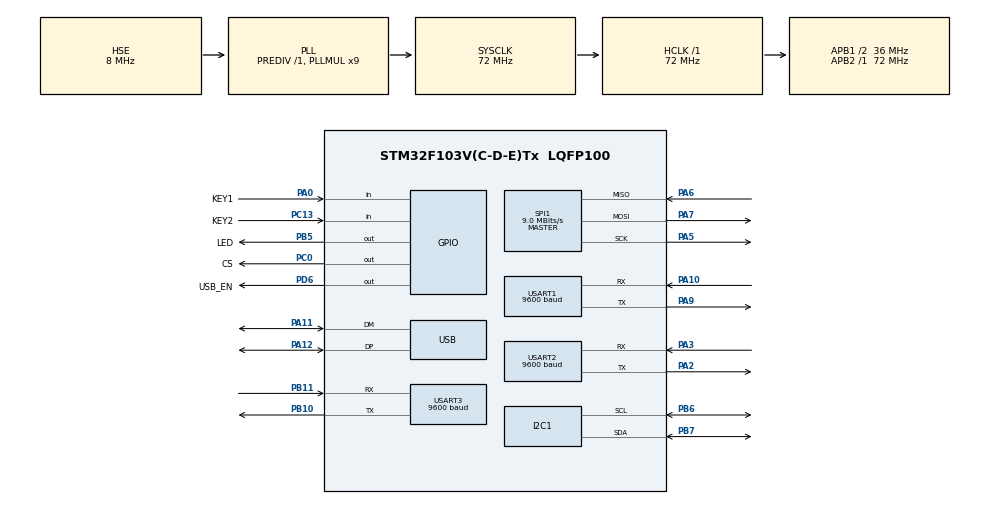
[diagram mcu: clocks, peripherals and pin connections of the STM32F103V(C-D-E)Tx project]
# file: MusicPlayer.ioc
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FATFS._CODE_PAGE=936
FATFS._USE_LFN=3
FREERTOS.Queues01=AudioCmdQueue,10,uint32_t,0,Dynamic,NULL,NULL
FREERTOS.Tasks01=AppControlTask,24,512,AppControlTaskFun,Default,NULL,Dynamic,NULL,NULL;AudioGateTask,32,256,AudioGateTaskFun,Default,NULL,Dynamic,NULL,NULL;FatfsLyricTask,16,1024,FatfsLyricTaskFun,Default,NULL,Dynamic,NULL,NULL;BluetoothTask,40,256,BluetoothTaskFun,Default,NULL,Dynamic,NULL,NULL
FREERTOS.configTOTAL_HEAP_SIZE=16384
Mcu.Family=STM32F1
Mcu.Name=STM32F103V(C-D-E)Tx
Mcu.Package=LQFP100
NVIC.PriorityGroup=NVIC_PRIORITYGROUP_4
NVIC.TIM4_IRQn=true\:15\:0\:false\:false\:true\:false\:false\:true\:true
NVIC.TimeBase=TIM4_IRQn
NVIC.TimeBaseIP=TIM4
NVIC.USART2_IRQn=true\:5\:0\:false\:false\:true\:true\:true\:true\:true
NVIC.USART3_IRQn=true\:5\:0\:false\:false\:true\:true\:true\:true\:true
NVIC.USB_LP_CAN1_RX0_IRQn=true\:5\:0\:false\:false\:true\:true\:false\:true\:true
OSC_IN.Mode=HSE-External-Oscillator
OSC_IN.Signal=RCC_OSC_IN
OSC_OUT.Mode=HSE-External-Oscillator
OSC_OUT.Signal=RCC_OSC_OUT
PA0-WKUP.GPIO_Label=KEY1
PA0-WKUP.GPIO_PuPd=GPIO_PULLDOWN
PA0-WKUP.Signal=GPIO_Input
PA10.Mode=Asynchronous
PA10.Signal=USART1_RX
PA11.Mode=Device
PA11.Signal=USB_DM
PA12.Mode=Device
PA12.Signal=USB_DP
PA13.Mode=Serial_Wire
PA13.Signal=SYS_JTMS-SWDIO
PA14.Mode=Serial_Wire
PA14.Signal=SYS_JTCK-SWCLK
PA2.Mode=Asynchronous
PA2.Signal=USART2_TX
PA3.Mode=Asynchronous
PA3.Signal=USART2_RX
PA5.Mode=Full_Duplex_Master
PA5.Signal=SPI1_SCK
PA6.Mode=Full_Duplex_Master
PA6.Signal=SPI1_MISO
PA7.Mode=Full_Duplex_Master
PA7.Signal=SPI1_MOSI
PA9.Mode=Asynchronous
PA9.Signal=USART1_TX
PB10.Mode=Asynchronous
PB10.Signal=USART3_TX
PB11.Mode=Asynchronous
PB11.Signal=USART3_RX
PB5.GPIO_Label=LED
PB5.PinState=GPIO_PIN_SET
PB5.Signal=GPIO_Output
PB6.Mode=I2C
PB6.Signal=I2C1_SCL
PB7.Mode=I2C
PB7.Signal=I2C1_SDA
PC0.GPIO_Label=CS
PC0.GPIO_Speed=GPIO_SPEED_FREQ_HIGH
PC0.PinState=GPIO_PIN_SET
PC0.Signal=GPIO_Output
PC13-TAMPER-RTC.GPIO_Label=KEY2
PC13-TAMPER-RTC.GPIO_PuPd=GPIO_PULLDOWN
PC13-TAMPER-RTC.Signal=GPIO_Input
PD6.GPIO_Label=USB_EN
PD6.GPIO_Speed=GPIO_SPEED_FREQ_HIGH
PD6.Signal=GPIO_Output
ProjectManager.HeapSize=0x200
ProjectManager.StackSize=0x400
ProjectManager.TargetToolchain=MDK-ARM V5.32
RCC.AHBFreq_Value=72000000
RCC.APB1CLKDivider=RCC_HCLK_DIV2
RCC.APB1Freq_Value=36000000
RCC.APB1TimFreq_Value=72000000
RCC.APB2Freq_Value=72000000
RCC.APB2TimFreq_Value=72000000
RCC.HCLKFreq_Value=72000000
RCC.PLLMUL=RCC_PLL_MUL9
RCC.PLLSourceVirtual=RCC_PLLSOURCE_HSE
RCC.SYSCLKFreq_VALUE=72000000
RCC.SYSCLKSource=RCC_SYSCLKSOURCE_PLLCLK
RCC.USBFreq_Value=48000000
RCC.USBPrescaler=RCC_USBCLKSOURCE_PLL_DIV1_5
SPI1.BaudRatePrescaler=SPI_BAUDRATEPRESCALER_8
SPI1.CalculateBaudRate=9.0 MBits/s
SPI1.Direction=SPI_DIRECTION_2LINES
SPI1.Mode=SPI_MODE_MASTER
SPI1.VirtualType=VM_MASTER
USART1.BaudRate=9600
USART1.VirtualMode=VM_ASYNC
USART2.BaudRate=9600
USART2.VirtualMode=VM_ASYNC
USART3.BaudRate=9600
USART3.VirtualMode=VM_ASYNC
USB_DEVICE.CLASS_NAME_FS=MSC
USB_DEVICE.VirtualMode=Msc
USB_DEVICE.VirtualModeFS=Msc_FS
VP_FATFS_VS_Generic.Mode=User_defined
VP_FREERTOS_VS_CMSIS_V2.Mode=CMSIS_V2
VP_SYS_VS_tim4.Mode=TIM4
VP_USB_DEVICE_VS_USB_DEVICE_MSC_FS.Mode=MSC_FS
board=custom

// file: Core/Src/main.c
/* USER CODE BEGIN Header */
/**
  ******************************************************************************
  * @file           : main.c
  * @brief          : Main program body
  ******************************************************************************
  * @attention
  *
  * Copyright (c) 2026 STMicroelectronics.
  * All rights reserved.
  *
  * This software is licensed under terms that can be found in the LICENSE file
  * in the root directory of this software component.
  * If no LICENSE file comes with this software, it is provided AS-IS.
  *
  ******************************************************************************
  */
/* USER CODE END Header */
#include "main.h"
#include "cmsis_os.h"
#include "fatfs.h"
#include "i2c.h"
#include "spi.h"
#include "usart.h"
#include "usb_device.h"
#include "gpio.h"

/* USER CODE BEGIN Includes */
#include <stdio.h>
#include "freertos.h"
/* USER CODE END Includes */

void SystemClock_Config(void);
void MX_FREERTOS_Init(void);
/* USER CODE BEGIN PFP */

extern UART_HandleTypeDef huart2;
extern UART_HandleTypeDef huart3;
extern osMessageQueueId_t AudioCmdQueueHandle;

// 蓝牙接收缓存 (1个字节)
uint8_t ble_rx_buf[1];

// 全局状态变量 (让后台任务和 UI 任务能互相看到)
uint8_t current_track = 1;     // 当前曲目
uint8_t is_playing = 1;        // 1: 正在播放, 0: 已暂停
uint8_t ui_update_flag = 1;    // 1: 需要刷新屏幕, 0: 不需要 (防止屏幕狂刷闪烁)

// 歌词结构体：存放一句歌词的时间和文本
typedef struct {
    uint16_t time_sec;  // 把 [00:03.00] 换算成 3 秒
    char text[32];      // 歌词正文 (最多存31个字母)
} Lyric_t;

// 我们最多存 15 句歌词防爆内存
Lyric_t lrc_array[15];
uint8_t total_lrc_lines = 0;   // 记录这首歌总共有几句歌词
uint8_t load_lyric_flag = 1;   // 告诉后台任务：该去读文件了！(开机默认读1次)

// ==============================================================
// 🛠�? 工业级稳定版 BY8301 控制�? (拒绝花哨指针，硬核组�?)
// ==============================================================

// 1. 指定播放曲目 (对应硬编�? 7E 05 41 00 xx xx EF)
void BY8301_PlayIndex(uint16_t index)
{
    uint8_t send_buf[7];
    uint8_t checksum;

    send_buf[0] = 0x7E;         // 帧头
    send_buf[1] = 0x05;         // 长度 (固定�? 5)
    send_buf[2] = 0x41;         // 命令�? (播放指定曲目)
    send_buf[3] = (uint8_t)(index >> 8); // 曲目号高�?
    send_buf[4] = (uint8_t)(index);      // 曲目号低�?

    // 手动计算异或校验�?: 长度 ^ 命令�? ^ 参数�? ^ 参数�?
    checksum = send_buf[1] ^ send_buf[2] ^ send_buf[3] ^ send_buf[4];
    send_buf[5] = checksum;     // 校验�?
    send_buf[6] = 0xEF;         // 帧尾

    HAL_UART_Transmit(&huart3, send_buf, 7, 100);
}

// 2. 暂停 / 继续 (固定 5 字节指令)
void BY8301_PausePlay(void)
{
    // 7E 03 02 01 EF (长度3, 命令02, 校验 03^02=01)
    uint8_t hardcode_pause[5] = {0x7E, 0x03, 0x02, 0x01, 0xEF};
    HAL_UART_Transmit(&huart3, hardcode_pause, 5, 100);
}

// 3. 停止播放 (固定 5 字节指令)
void BY8301_Stop(void)
{
    // 7E 03 0E 0D EF (长度3, 命令0E, 校验 03^0E=0D)
    uint8_t hardcode_stop[5] = {0x7E, 0x03, 0x0E, 0x0D, 0xEF};
    HAL_UART_Transmit(&huart3, hardcode_stop, 5, 100);
}

// 4. 设置音量 0~30 (对应 6 字节指令)
void BY8301_SetVolume(uint8_t vol)
{
    if(vol > 30) vol = 30; // 保护限制

    uint8_t send_buf[6];
    send_buf[0] = 0x7E;
    send_buf[1] = 0x04;         // 长度固定�? 4
    send_buf[2] = 0x31;         // 命令�? (设置音量)
    send_buf[3] = vol;          // 音量参数
    send_buf[4] = 0x04 ^ 0x31 ^ vol; // 校验�?
    send_buf[5] = 0xEF;

    HAL_UART_Transmit(&huart3, send_buf, 6, 100);
}

// 发�?�纯播放/恢复指令 (命令�? 0x01, 异或校验�?: 0x03 ^ 0x01 = 0x02)
void BY8301_Play(void)
{
    uint8_t cmd[5] = {0x7E, 0x03, 0x01, 0x02, 0xEF};
    HAL_UART_Transmit(&huart3, cmd, 5, 100);
}

// 发�?�纯暂停指令 (命令�? 0x02, 异或校验�?: 0x03 ^ 0x02 = 0x01)
void BY8301_Pause(void)
{
    uint8_t cmd[5] = {0x7E, 0x03, 0x02, 0x01, 0xEF};
    HAL_UART_Transmit(&huart3, cmd, 5, 100);
}

// 3. 下一曲 (固定 5 字节指令)
void BY8301_Next(void)
{
    // 7E(头) 03(长) 03(令) 00(校验:03^03=00) EF(尾)
    uint8_t cmd_next[5] = {0x7E, 0x03, 0x03, 0x00, 0xEF};
    HAL_UART_Transmit(&huart3, cmd_next, 5, 100);
}

// 4. 上一曲 (固定 5 字节指令)
void BY8301_Prev(void)
{
    // 7E(头) 03(长) 04(令) 07(校验:03^04=07) EF(尾)
    uint8_t cmd_prev[5] = {0x7E, 0x03, 0x04, 0x07, 0xEF};
    HAL_UART_Transmit(&huart3, cmd_prev, 5, 100);
}

/* USER CODE END PFP */

/* USER CODE BEGIN 0 */

#ifdef __GNUC__
#define PUTCHAR_PROTOTYPE int __io_putchar(int ch)
#else
#define PUTCHAR_PROTOTYPE int fputc(int ch, FILE *f)
#endif

PUTCHAR_PROTOTYPE
{
    HAL_UART_Transmit(&huart1, (uint8_t *)&ch, 1, HAL_MAX_DELAY);
    return ch;
}

/* USER CODE END 0 */

int main(void)
{

  /* MCU Configuration--------------------------------------------------------*/

  /* Reset of all peripherals, Initializes the Flash interface and the Systick. */
  HAL_Init();

  /* Configure the system clock */
  SystemClock_Config();

  /* Initialize all configured peripherals */
  MX_GPIO_Init();
  MX_USART2_UART_Init();
  MX_USART3_UART_Init();
  MX_USART1_UART_Init();
  MX_I2C1_Init();
  MX_FATFS_Init();
  MX_SPI1_Init();
  /* USER CODE BEGIN 2 */

  OLED_Init();
  OLED_Clear();

 // �?�? USART1 中断接收，随时等手机发信�?

  HAL_UART_Receive_IT(&huart2, ble_rx_buf, 1);

  /* USER CODE END 2 */

  /* Init scheduler */
  osKernelInitialize();

  /* Call init function for freertos objects (in cmsis_os2.c) */
  MX_FREERTOS_Init();

  /* Start scheduler */
  osKernelStart();

  /* We should never get here as control is now taken by the scheduler */

  /* Infinite loop */
  while (1)
  {

  }
}

void SystemClock_Config(void)
{
  RCC_OscInitTypeDef RCC_OscInitStruct = {0};
  RCC_ClkInitTypeDef RCC_ClkInitStruct = {0};
  RCC_PeriphCLKInitTypeDef PeriphClkInit = {0};

  /** Initializes the RCC Oscillators according to the specified parameters
  * in the RCC_OscInitTypeDef structure.
  */
  RCC_OscInitStruct.OscillatorType = RCC_OSCILLATORTYPE_HSE;
  RCC_OscInitStruct.HSEState = RCC_HSE_ON;
  RCC_OscInitStruct.HSEPredivValue = RCC_HSE_PREDIV_DIV1;
  RCC_OscInitStruct.HSIState = RCC_HSI_ON;
  RCC_OscInitStruct.PLL.PLLState = RCC_PLL_ON;
  RCC_OscInitStruct.PLL.PLLSource = RCC_PLLSOURCE_HSE;
  RCC_OscInitStruct.PLL.PLLMUL = RCC_PLL_MUL9;
  if (HAL_RCC_OscConfig(&RCC_OscInitStruct) != HAL_OK)
  {
    Error_Handler();
  }

  /** Initializes the CPU, AHB and APB buses clocks
  */
  RCC_ClkInitStruct.ClockType = RCC_CLOCKTYPE_HCLK|RCC_CLOCKTYPE_SYSCLK
                              |RCC_CLOCKTYPE_PCLK1|RCC_CLOCKTYPE_PCLK2;
  RCC_ClkInitStruct.SYSCLKSource = RCC_SYSCLKSOURCE_PLLCLK;
  RCC_ClkInitStruct.AHBCLKDivider = RCC_SYSCLK_DIV1;
  RCC_ClkInitStruct.APB1CLKDivider = RCC_HCLK_DIV2;
  RCC_ClkInitStruct.APB2CLKDivider = RCC_HCLK_DIV1;

  if (HAL_RCC_ClockConfig(&RCC_ClkInitStruct, FLASH_LATENCY_2) != HAL_OK)
  {
    Error_Handler();
  }
  PeriphClkInit.PeriphClockSelection = RCC_PERIPHCLK_USB;
  PeriphClkInit.UsbClockSelection = RCC_USBCLKSOURCE_PLL_DIV1_5;
  if (HAL_RCCEx_PeriphCLKConfig(&PeriphClkInit) != HAL_OK)
  {
    Error_Handler();
  }
}

/* USER CODE BEGIN 4 */

// 串口接收完成回调函数
void HAL_UART_RxCpltCallback(UART_HandleTypeDef *huart)
{
    // ⚠️ 已经为你修改为 USART2 (蓝牙所在的串口)
    if(huart->Instance == USART2)
    {
        AudioCmd_t msg;
        // 手机发 'P' 切换播放/暂停，发 'N' 切下一曲
        if(ble_rx_buf[0] == 'P') {
            msg.cmd_type = 1;
            osMessageQueuePut(AudioCmdQueueHandle, &msg, 0, 0);
        }
        else if(ble_rx_buf[0] == 'N') {
            msg.cmd_type = 2;
            osMessageQueuePut(AudioCmdQueueHandle, &msg, 0, 0);
        }

        // 重新开启 USART2 的接收中断
        HAL_UART_Receive_IT(&huart2, ble_rx_buf, 1);
    }
}

/* USER CODE END 4 */

void HAL_TIM_PeriodElapsedCallback(TIM_HandleTypeDef *htim)
{
  if (htim->Instance == TIM4) {
    HAL_IncTick();
  }
}

void Error_Handler(void)
{
  __disable_irq();
   while (1)
  {
  }
}

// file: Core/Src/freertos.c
/* USER CODE BEGIN Header */
/**
  ******************************************************************************
  * File Name          : freertos.c
  * Description        : Code for freertos applications
  ******************************************************************************
  * @attention
  *
  * Copyright (c) 2026 STMicroelectronics.
  * All rights reserved.
  *
  * This software is licensed under terms that can be found in the LICENSE file
  * in the root directory of this software component.
  * If no LICENSE file comes with this software, it is provided AS-IS.
  *
  ******************************************************************************
  */
/* USER CODE END Header */

#include "FreeRTOS.h"
#include "task.h"
#include "main.h"
#include "cmsis_os.h"

/* USER CODE BEGIN Includes */
#include <stdio.h>
#include "../../Hardware/oled.h"
#include "fatfs.h"
#include <stdlib.h>
#include "ff.h"
/* USER CODE END Includes */

/* Definitions for AppControlTask */
osThreadId_t AppControlTaskHandle;
const osThreadAttr_t AppControlTask_attributes = {
  .name = "AppControlTask",
  .stack_size = 512 * 4,
  .priority = (osPriority_t) osPriorityNormal,
};
/* Definitions for AudioGateTask */
osThreadId_t AudioGateTaskHandle;
const osThreadAttr_t AudioGateTask_attributes = {
  .name = "AudioGateTask",
  .stack_size = 256 * 4,
  .priority = (osPriority_t) osPriorityAboveNormal,
};
/* Definitions for FatfsLyricTask */
osThreadId_t FatfsLyricTaskHandle;
const osThreadAttr_t FatfsLyricTask_attributes = {
  .name = "FatfsLyricTask",
  .stack_size = 1024 * 4,
  .priority = (osPriority_t) osPriorityBelowNormal,
};
/* Definitions for BluetoothTask */
osThreadId_t BluetoothTaskHandle;
const osThreadAttr_t BluetoothTask_attributes = {
  .name = "BluetoothTask",
  .stack_size = 256 * 4,
  .priority = (osPriority_t) osPriorityHigh,
};
/* Definitions for AudioCmdQueue */
osMessageQueueId_t AudioCmdQueueHandle;
const osMessageQueueAttr_t AudioCmdQueue_attributes = {
  .name = "AudioCmdQueue"
};

/* USER CODE BEGIN FunctionPrototypes */

extern uint8_t current_track ;     // 当前曲目
extern uint8_t is_playing;        // 1: 正在播放, 0: 已暂停
extern uint8_t ui_update_flag ;    // 1: 需要刷新屏幕, 0: 不需要 (防止屏幕狂刷闪烁)

/* USER CODE END FunctionPrototypes */

void AppControlTaskFun(void *argument);
void AudioGateTaskFun(void *argument);
void FatfsLyricTaskFun(void *argument);
void BluetoothTaskFun(void *argument);

extern void MX_USB_DEVICE_Init(void);
void MX_FREERTOS_Init(void); /* (MISRA C 2004 rule 8.1) */

void MX_FREERTOS_Init(void) {

  /* Create the queue(s) */
  /* creation of AudioCmdQueue */
  AudioCmdQueueHandle = osMessageQueueNew (10, sizeof(uint32_t), &AudioCmdQueue_attributes);

  /* Create the thread(s) */
  /* creation of AppControlTask */
  AppControlTaskHandle = osThreadNew(AppControlTaskFun, NULL, &AppControlTask_attributes);

  /* creation of AudioGateTask */
  AudioGateTaskHandle = osThreadNew(AudioGateTaskFun, NULL, &AudioGateTask_attributes);

  /* creation of FatfsLyricTask */
  FatfsLyricTaskHandle = osThreadNew(FatfsLyricTaskFun, NULL, &FatfsLyricTask_attributes);

  /* creation of BluetoothTask */
  BluetoothTaskHandle = osThreadNew(BluetoothTaskFun, NULL, &BluetoothTask_attributes);

}

void AppControlTaskFun(void *argument)
{
  /* init code for USB_DEVICE */
  MX_USB_DEVICE_Init();
  /* USER CODE BEGIN AppControlTaskFun */
  /* =======================================================
 * 任务 1：UI 与 按键任务 (只管交互，不管发串口)
 * ======================================================= */
    AudioCmd_t msg;
	static uint8_t led_tick = 0;
    char text_buf[20];
	//记录按键的上一次状态，用于边缘检测
	uint8_t key1_prev = GPIO_PIN_RESET;
	uint8_t key2_prev = GPIO_PIN_SET;

    OLED_Clear();
	OLED_ShowString(0, 0, "-- MP3 Player --",16);
	OLED_ShowString(0, 2, "System Booting..",16);
    OLED_Refresh();

    for(;;)
    {
        //  按键 1: 播放 / 暂停 (PA0)
		GPIO_PinState key1_curr = HAL_GPIO_ReadPin(GPIOA, GPIO_PIN_0);
        if(key1_curr == GPIO_PIN_SET && key1_prev == GPIO_PIN_RESET)
        {

                msg.cmd_type = 1; // 1代表Toggle(播放/暂停)
                osMessageQueuePut(AudioCmdQueueHandle, &msg, 0, 0);

        }
		key1_prev = key1_curr;

        // 🔍按键 2: 下一曲 (PC13)
		GPIO_PinState key2_curr = HAL_GPIO_ReadPin(GPIOC, GPIO_PIN_13);
        if(key2_curr == GPIO_PIN_RESET && key2_prev == GPIO_PIN_SET)
        {

                msg.cmd_type = 2; // 2代表下一曲
                osMessageQueuePut(AudioCmdQueueHandle, &msg, 0, 0);

        }
		key2_prev = key2_curr;

        //  OLED 智能刷新机制 (只有状态改变了，才去刷屏幕，杜绝闪烁卡死)
        if (ui_update_flag == 1)
        {
			 OLED_Clear();
            OLED_ShowString(0, 0, "-- MP3 Player --", 16);

            sprintf(text_buf, "Track: %02d   ", current_track);
            OLED_ShowString(0, 2, text_buf, 16);

            if (is_playing) OLED_ShowString(0, 4, "Status: Playing", 16);
            else            OLED_ShowString(0, 4, "Status: Paused ", 16);

            OLED_Refresh();
            ui_update_flag = 0; // 刷新完毕，放下旗帜
        }
			led_tick++;
		if(led_tick >= 10) //10 * 50ms
		{
			HAL_GPIO_TogglePin(LED_GPIO_Port, LED_Pin); // 心跳灯
            led_tick = 0;
		}
		osDelay(50); // 每 50ms 跑一圈

    }
  /* USER CODE END AppControlTaskFun */
}

void AudioGateTaskFun(void *argument)
{
  /* USER CODE BEGIN AudioGateTaskFun */

  /* =======================================================
 * 任务 2：后台音频守门员任务 (只管发串口，负责同步状态)
 * ======================================================= */

    AudioCmd_t rx_msg;

    osDelay(2500); // 必须给 BY8301 留足开机读卡的时间

    BY8301_PlayIndex(current_track); // 开机播第一首
    is_playing = 1;
    ui_update_flag = 1; // 通知屏幕该显示了

    for(;;)
    {
        // 等待队列消息，如果没有操作，这个任务就不占用 CPU
        if(osMessageQueueGet(AudioCmdQueueHandle, &rx_msg, NULL, osWaitForever) == osOK)
        {
            if(rx_msg.cmd_type == 1) // 收到播放/暂停切换请求
            {
                if (is_playing) {
                    BY8301_Stop();
                    is_playing = 0;
                } else {
                    BY8301_Play();
                    is_playing = 1;
                }
                ui_update_flag = 1; // 状态改变，叫醒 UI 刷新
            }
            else if(rx_msg.cmd_type == 2) // 收到下一曲请求
            {
                BY8301_Next();
                current_track++;
                if (current_track > 99) current_track = 1; // 防止曲目溢出
                is_playing = 1;     // BY8301切歌后会自动播放
                ui_update_flag = 1; // 状态改变，叫醒 UI 刷新

                load_lyric_flag = 1;
            }

            osDelay(50); // 给串口和模块一点点消化时间，防止疯狂连按死锁
        }
    }
  /* USER CODE END AudioGateTaskFun */
}

void FatfsLyricTaskFun(void *argument)
{
  /* USER CODE BEGIN FatfsLyricTaskFun */
  /* =======================================================
 * 任务 3：后台歌词解析任务 (Below Normal 优先级)
 * ======================================================= */

 /* =======================================================
 * 任务 3：后台歌词解析任务 (慢任务，专职读取 W25Q64)
 * ======================================================= */

  FIL file;
    char path[20];
    char line_buf[64];

    for(;;)
    {
        // 如果收到指令，说明切歌了，需要重新加载歌词
        if (load_lyric_flag == 1)
        {
            load_lyric_flag = 0; // 清除标志位
            total_lrc_lines = 0; // 重置歌词计数

            // 组装文件路径，比如 "0:/0001.txt"
            sprintf(path, "0:/%04d.txt", current_track);

            // 尝试打开文件 (FA_READ 读模式)
            if (f_open(&file, path, FA_READ) == FR_OK)
            {
                // 一行一行地把文本读进 line_buf 里
                while (f_gets(line_buf, sizeof(line_buf), &file) != NULL)
                {
                    if (total_lrc_lines >= 15) break; // 数组满了就别读了

                    // LRC 格式: [00:03.00] xxxxxx
                    // 检查是不是标准的标签
                    if (line_buf[0] == '[' && line_buf[3] == ':')
                    {
                        // 1. 算时间：提取分钟和秒
                        uint8_t min = (line_buf[1] - '0') * 10 + (line_buf[2] - '0');
                        uint8_t sec = (line_buf[4] - '0') * 10 + (line_buf[5] - '0');
                        lrc_array[total_lrc_lines].time_sec = min * 60 + sec;

                        // 2. 抠歌词：找到 ']' 后面的内容
                        char *text_start = strchr(line_buf, ']');
                        if (text_start != NULL) {
                            // 复制到结构体里 (跳过 ']')
                            strncpy(lrc_array[total_lrc_lines].text, text_start + 1, 31);
                            total_lrc_lines++;
                        }
                    }
                }
                f_close(&file); // 读完务必关掉文件，释放内存
            }

            // 为了验证是否读取成功，我们借用一下 UI 刷新的权利
            // 临时在屏幕上打印第一句歌词！
            if (total_lrc_lines > 0) {
                OLED_ShowString(0, 6, lrc_array[0].text, 16);
                OLED_Refresh();
            } else {
                OLED_ShowString(0, 6, "No Lyric Found  ", 16);
                OLED_Refresh();
            }
        }

        // 慢任务，每 200ms 去看一眼有没有切歌就行，绝不抢前台 CPU
        osDelay(200);
    }
  /* USER CODE END FatfsLyricTaskFun */
}

void BluetoothTaskFun(void *argument)
{
  /* USER CODE BEGIN BluetoothTaskFun */
  /* =======================================================
 * 任务 4：蓝牙维护任务 (High 优先级)
 * ======================================================= */

  /* Infinite loop */
  for(;;)
  {
    // 中断已经把事情做完了，这里可以放一些蓝牙心跳检测、AT指令配置等慢逻辑
      osDelay(1000);
  }
  /* USER CODE END BluetoothTaskFun */
}
